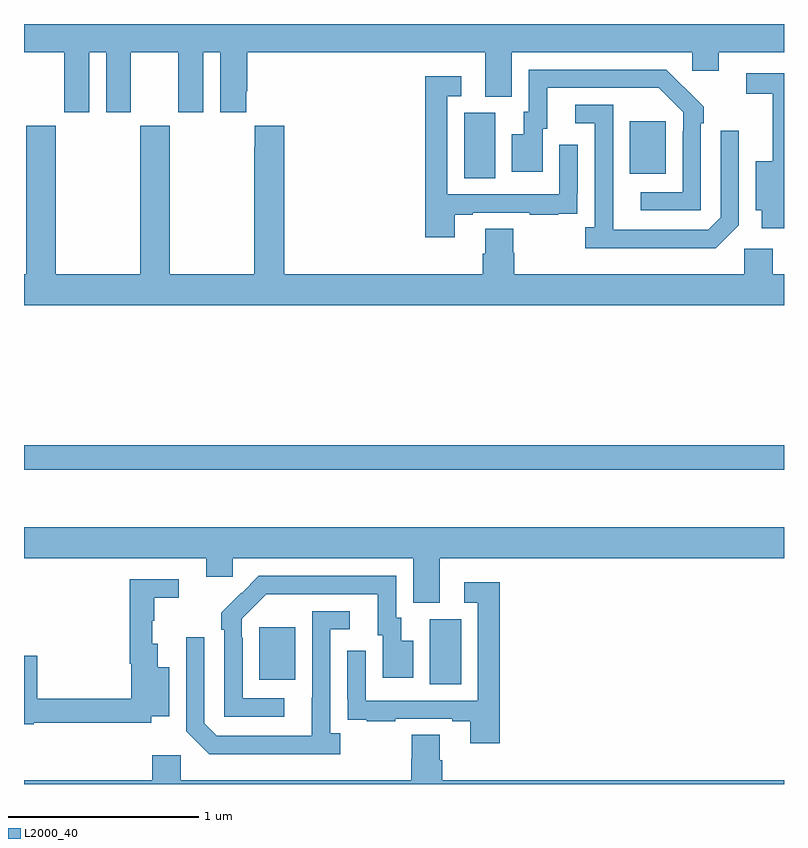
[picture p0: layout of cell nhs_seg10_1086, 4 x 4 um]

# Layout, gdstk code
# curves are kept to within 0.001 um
import gdstk
lib = gdstk.Library(unit=1e-6, precision=1e-09)
def R(c, l, rs):  # rectangles x0, y0, x1, y1
    for r in rs: c.add(gdstk.rectangle(r[:2], r[2:], *l))
def P(c, l, *ps):  # polygons
    for p in ps: c.add(gdstk.Polygon(p, *l))
L2000_40 = (2000, 40)

nhs_seg10_1086 = lib.new_cell('nhs_seg10_1086')
R(nhs_seg10_1086, L2000_40, [(169.136,1261.024,169.3,1261.368), (168.239,1261.049,168.427,1261.324), (167,1262.154,171,1262.282), (169.316,1263.688,169.48,1264.032), (170.189,1263.713,170.377,1263.988)])
P(nhs_seg10_1086, L2000_40, [(167.344,1264.352),(167.432,1264.352),(167.432,1264.035),(167.563,1264.035),(167.563,1264.352),(167.813,1264.352),(167.813,1264.035),(167.944,1264.035),(167.944,1264.352),(168.032,1264.352),(168.032,1264.035),(168.169,1264.035),(168.169,1264.147),(168.176,1264.147),(168.176,1264.352),(169.427,1264.352),(169.427,1264.117),(169.567,1264.117),(169.567,1264.352),(170.517,1264.352),(170.517,1264.254),(170.656,1264.254),(170.656,1264.352),(171,1264.352),(171,1264.5),(167,1264.5),(167,1264.352),(167.213,1264.352),(167.213,1264.035),(167.344,1264.035)],
  [(170.562,1263.977),(170.577,1263.977),(170.577,1264.065),(170.38,1264.26),(169.656,1264.26),(169.656,1264.038),(169.631,1264.038),(169.631,1263.919),(169.568,1263.919),(169.568,1263.723),(169.729,1263.723),(169.729,1263.948),(169.753,1263.948),(169.753,1264.164),(170.341,1264.164),(170.469,1264.035),(170.469,1263.935),(170.466,1263.935),(170.466,1263.615),(170.247,1263.615),(170.247,1263.519),(170.562,1263.519)],
  [(171,1264.242),(170.802,1264.242),(170.802,1264.134),(170.942,1264.134),(170.942,1263.778),(170.852,1263.778),(170.852,1263.521),(170.882,1263.521),(170.882,1263.426),(171,1263.426)],
  [(169.267,1263.495),(169.363,1263.495),(169.363,1263.507),(169.663,1263.507),(169.663,1263.495),(169.811,1263.495),(169.811,1263.501),(169.913,1263.501),(169.913,1263.61),(169.914,1263.61),(169.914,1263.865),(169.818,1263.865),(169.818,1263.603),(169.227,1263.603),(169.227,1264.119),(169.3,1264.119),(169.3,1264.225),(169.111,1264.225),(169.111,1263.378),(169.267,1263.378)],
  [(170.763,1263.441),(170.763,1263.937),(170.667,1263.937),(170.667,1263.483),(170.601,1263.417),(170.101,1263.417),(170.1,1264.074),(169.902,1264.074),(169.902,1263.978),(170.004,1263.978),(170.004,1263.43),(169.953,1263.43),(169.953,1263.32),(170.642,1263.32)],
  [(171,1263.184),(170.942,1263.184),(170.942,1263.316),(170.79,1263.316),(170.79,1263.184),(169.58,1263.184),(169.58,1263.297),(169.575,1263.297),(169.575,1263.422),(169.427,1263.422),(169.427,1263.29),(169.415,1263.29),(169.415,1263.184),(168.371,1263.184),(168.371,1263.964),(168.215,1263.964),(168.215,1263.851),(168.211,1263.851),(168.211,1263.184),(167.766,1263.184),(167.766,1263.964),(167.611,1263.964),(167.611,1263.184),(167.166,1263.184),(167.166,1263.964),(167.011,1263.964),(167.011,1263.184),(167,1263.184),(167,1263.02),(171,1263.02)],
  [(169.189,1261.688),(171,1261.688),(171,1261.852),(167,1261.852),(167,1261.688),(167.96,1261.688),(167.96,1261.59),(168.099,1261.59),(168.099,1261.688),(169.049,1261.688),(169.049,1261.453),(169.189,1261.453)],
  [(168.37,1260.951),(168.15,1260.951),(168.15,1261.271),(168.147,1261.271),(168.147,1261.371),(168.276,1261.5),(168.863,1261.5),(168.863,1261.284),(168.887,1261.284),(168.887,1261.059),(169.048,1261.059),(169.048,1261.255),(168.985,1261.255),(168.985,1261.374),(168.96,1261.374),(168.96,1261.596),(168.236,1261.596),(168.039,1261.401),(168.039,1261.313),(168.054,1261.313),(168.054,1260.855),(168.37,1260.855)],
  [(167.052,1260.822),(167.67,1260.822),(167.67,1260.857),(167.764,1260.857),(167.764,1261.114),(167.704,1261.114),(167.704,1261.237),(167.675,1261.237),(167.675,1261.359),(167.686,1261.359),(167.686,1261.48),(167.815,1261.48),(167.815,1261.578),(167.557,1261.578),(167.557,1261.133),(167.564,1261.133),(167.564,1260.95),(167.069,1260.95),(167.069,1261.174),(167,1261.174),(167,1260.814),(167.052,1260.814)],
  [(169.505,1261.561),(169.317,1261.561),(169.317,1261.455),(169.389,1261.455),(169.389,1260.939),(168.798,1260.939),(168.798,1261.201),(168.702,1261.201),(168.702,1260.946),(168.703,1260.946),(168.703,1260.837),(168.805,1260.837),(168.805,1260.831),(168.953,1260.831),(168.953,1260.843),(169.253,1260.843),(169.253,1260.831),(169.349,1260.831),(169.349,1260.714),(169.505,1260.714)],
  [(168.664,1260.766),(168.612,1260.766),(168.612,1261.314),(168.715,1261.314),(168.715,1261.41),(168.516,1261.41),(168.515,1260.753),(168.015,1260.753),(167.949,1260.819),(167.949,1261.273),(167.853,1261.273),(167.853,1260.777),(167.974,1260.656),(168.664,1260.656)],
  [(171,1260.52),(169.202,1260.52),(169.202,1260.626),(169.189,1260.626),(169.189,1260.758),(169.042,1260.758),(169.042,1260.633),(169.037,1260.633),(169.037,1260.52),(167.826,1260.52),(167.826,1260.652),(167.675,1260.652),(167.675,1260.52),(167,1260.52),(167,1260.5),(171,1260.5)])

lib.write_gds('nhs_seg10_1086.gds')
